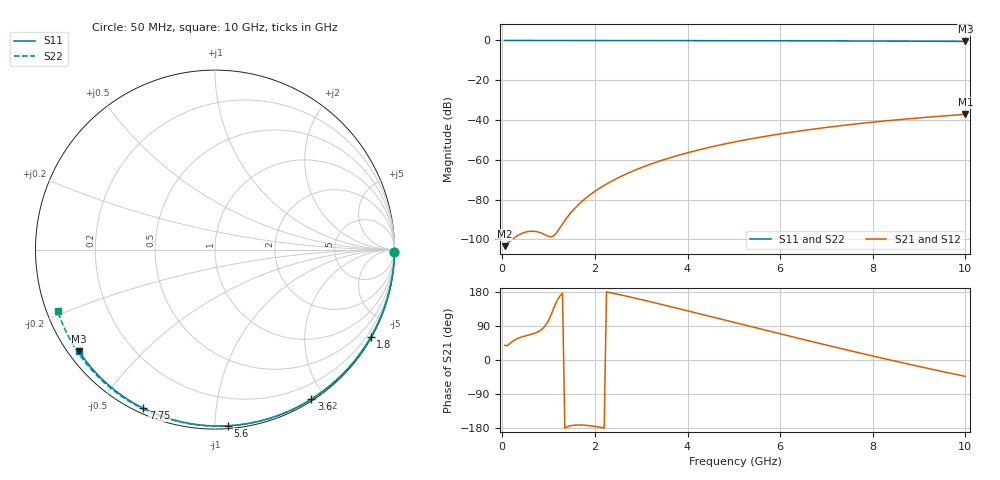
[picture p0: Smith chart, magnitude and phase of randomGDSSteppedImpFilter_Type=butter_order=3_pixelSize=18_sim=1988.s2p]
! freq	dB(S11)	phase(S11)	dB(S12)	phase(S12)
!  dB(S21)	phase(S21)	dB(S22)	phase(S22)
!S-par simulation data
#  GHz  S  DB  R 50
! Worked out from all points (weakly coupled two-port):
!   200 points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, 50 MHz to 10 GHz, reference 50 ohm
!   highest |S21| = -37.16 dB at 10 GHz (marker M1); lowest = -103.4 dB at 50 MHz (marker M2)
!   lowest |S11| = -0.5 dB at 10 GHz (marker M3), VSWR 35.60, Z = 1.56 - j16.6 ohm
!   |S11| at or under -10 dB: nowhere
!   |S22| runs from -0.5 to 0.0 dB; largest |S21 - S12| = 0
!   S11 on the Smith chart (normalised r, x): 50 MHz: open; 1.8 GHz: 0.03, -3.83; 3.6 GHz: 0.02, -1.84; 5.6 GHz: 0.02, -1.07; 7.75 GHz: 0.02, -0.65; 10 GHz: 0.03, -0.33
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0.05  -0.00 -0.8  -103.43 38.6  -103.43 38.6  -0.00 -0.9
0.45  -0.01 -7.4  -96.75 61.9  -96.75 61.9  -0.01 -8.3
0.9  -0.02 -14.8  -97.44 86.4  -97.44 86.4  -0.02 -16.5
1.3  -0.03 -21.3  -92.25 175.9  -92.25 175.9  -0.03 -23.7
1.75  -0.04 -28.5  -80.31 -171.8  -80.31 -171.8  -0.04 -31.8
1.8  -0.04 -29.3  -79.33 -172.3  -79.33 -172.3  -0.04 -32.7
1.95  -0.04 -31.7  -76.66 -174.4  -76.66 -174.4  -0.04 -35.3
2.1  -0.04 -34.1  -74.29 -177.2  -74.29 -177.2  -0.05 -37.9
2.3  -0.05 -37.2  -71.52 178.3  -71.52 178.3  -0.05 -41.4
2.5  -0.05 -40.3  -69.06 173.3  -69.06 173.3  -0.06 -44.9
2.9  -0.06 -46.5  -64.88 162.4  -64.88 162.4  -0.07 -51.8
3.4  -0.07 -54.2  -60.61 147.8  -60.61 147.8  -0.08 -60.2
3.6  -0.08 -57.2  -59.13 141.8  -59.13 141.8  -0.09 -63.5
4.3  -0.10 -67.5  -54.68 120.6  -54.68 120.6  -0.11 -74.9
5.05  -0.12 -78.2  -50.86 97.7  -50.86 97.7  -0.13 -86.7
5.6  -0.14 -85.9  -48.51 81.0  -48.51 81.0  -0.16 -95.1
6.15  -0.17 -93.3  -46.45 64.5  -46.45 64.5  -0.18 -103.3
6.7  -0.19 -100.7  -44.63 48.2  -44.63 48.2  -0.22 -111.4
7.75  -0.26 -114.3  -41.69 17.6  -41.69 17.6  -0.29 -126.5
8.35  -0.31 -122.0  -40.28 0.7  -40.28 0.7  -0.35 -135.0
9.2  -0.39 -132.8  -38.56 -22.5  -38.56 -22.5  -0.43 -147.1
10  -0.49 -143.2  -37.16 -43.2  -37.16 -43.2  -0.53 -158.6
